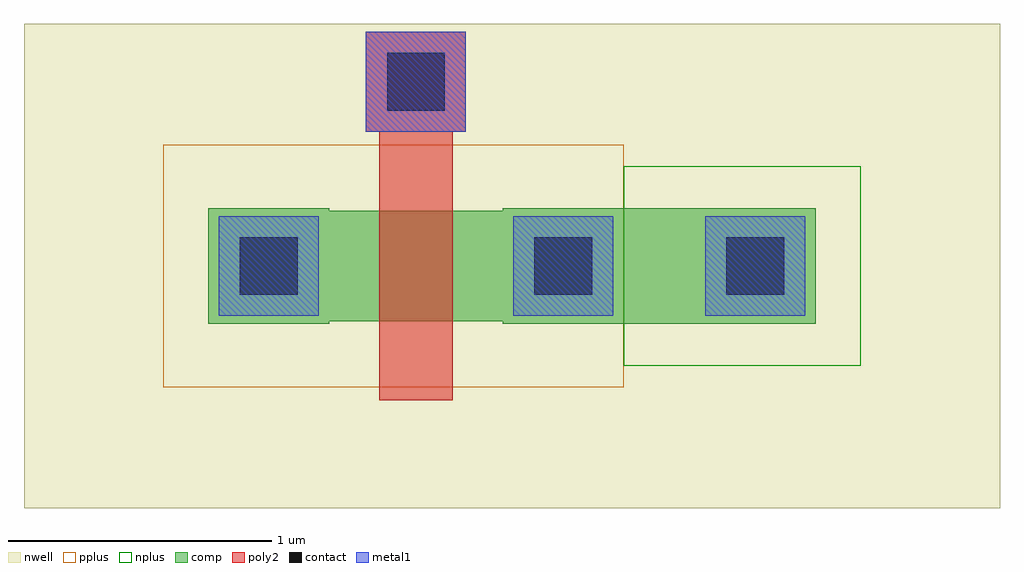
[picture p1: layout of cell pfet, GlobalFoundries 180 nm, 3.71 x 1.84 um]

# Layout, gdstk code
import gdstk
lib = gdstk.Library(unit=1e-6, precision=5e-09)
def R(c, l, rs):  # rectangles x0, y0, x1, y1
    for r in rs: c.add(gdstk.rectangle(r[:2], r[2:], *l))
nwell = (21, 0)
comp = (22, 0)
poly2 = (30, 0)
pplus = (31, 0)
nplus = (32, 0)
contact = (33, 0)
metal1 = (34, 0)

pfet = lib.new_cell('pfet')
R(pfet, nwell, [(-1.16,-0.71,2.55,1.13)])
R(pfet, comp, [(-0.46,-0.01,0,0.43), (0.66,-0.01,1.12,0.43), (1.12,-0.01,1.85,0.43), (0,0,0.66,0.42)])
R(pfet, poly2, [(0.19,-0.3,0.47,0.72), (0.14,0.72,0.52,1.1)])
R(pfet, pplus, [(-0.63,-0.25,1.12,0.67)])
R(pfet, nplus, [(1.12,-0.17,2.02,0.59)])
R(pfet, contact, [(-0.34,0.1,-0.12,0.32), (0.78,0.1,1,0.32), (1.51,0.1,1.73,0.32), (0.22,0.8,0.44,1.02)])
R(pfet, metal1, [(-0.42,0.02,-0.04,0.4), (0.7,0.02,1.08,0.4), (1.43,0.02,1.81,0.4), (0.14,0.72,0.52,1.1)])

lib.write_gds('pfet.gds')
